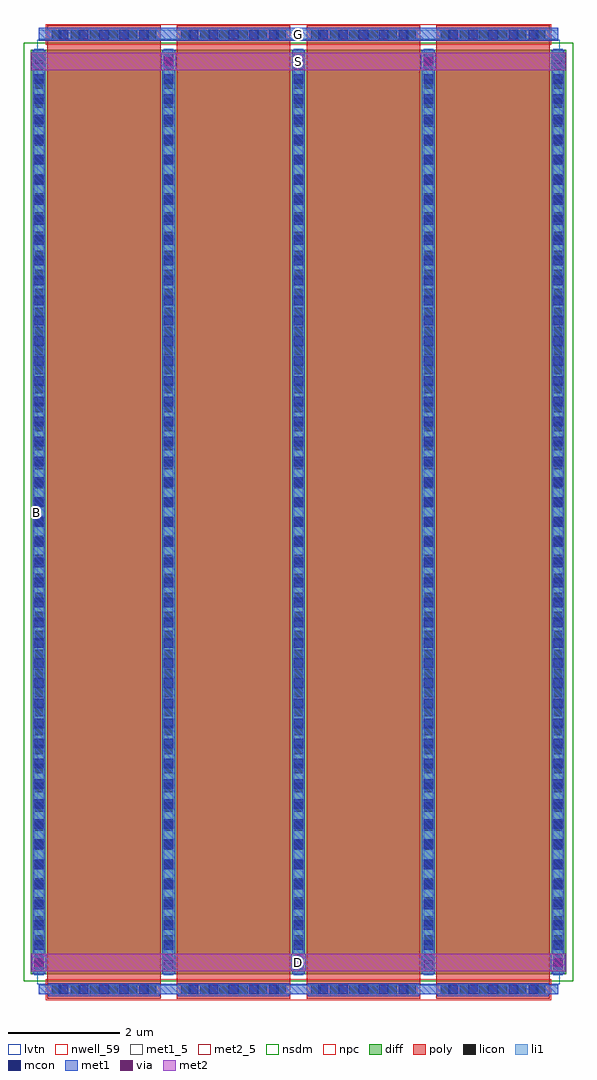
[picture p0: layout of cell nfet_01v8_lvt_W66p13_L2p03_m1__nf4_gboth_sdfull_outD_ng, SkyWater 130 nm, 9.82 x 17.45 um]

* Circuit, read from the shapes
.subckt nfet_01v8_lvt_W66p13_L2p03_m1__nf4_gboth_sdfull_outD_ng B D G S
XM1 S G D B sky130_fd_pr__nfet_01v8_lvt w=16.53 l=2.03 m=4
.ends

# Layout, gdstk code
import gdstk
lib = gdstk.Library(unit=1e-6, precision=1e-09)
def R(c, l, rs):  # rectangles x0, y0, x1, y1
    for r in rs: c.add(gdstk.rectangle(r[:2], r[2:], *l))
def A(c, l, x, y, w, h, nx, ny, dx, dy):  # array of equal rectangles
    R(c, l, [(x+i*dx, y+j*dy, x+i*dx+w, y+j*dy+h) for i in range(nx) for j in range(ny)])
nwell_59 = (64, 59)
diff = (65, 20)
poly = (66, 20)
licon = (66, 44)
li1 = (67, 20)
mcon = (67, 44)
met1_5 = (68, 5)
met1 = (68, 20)
via = (68, 44)
met2_5 = (69, 5)
met2 = (69, 20)
nsdm = (93, 44)
npc = (95, 20)
lvtn = (125, 44)

sky130_fd_pr__nfet_01v8_ = lib.new_cell('sky130_fd_pr__nfet_01v8_lvt_H7STBV')
R(sky130_fd_pr__nfet_01v8_, diff, [(-4.785,-8.265,4.785,8.265)])
A(sky130_fd_pr__nfet_01v8_, poly, -4.495, -8.705, 2.03, 17.41, 4, 1, 2.32, 0)
A(sky130_fd_pr__nfet_01v8_, licon, -4.415, -8.625, 0.17, 0.17, 6, 2, 0.34, 17.08)
A(sky130_fd_pr__nfet_01v8_, licon, -2.095, -8.625, 0.17, 0.17, 6, 2, 0.34, 17.08)
A(sky130_fd_pr__nfet_01v8_, licon, 0.225, -8.625, 0.17, 0.17, 6, 2, 0.34, 17.08)
A(sky130_fd_pr__nfet_01v8_, licon, 2.545, -8.625, 0.17, 0.17, 6, 2, 0.34, 17.08)
A(sky130_fd_pr__nfet_01v8_, licon, -4.725, -8.075, 0.17, 0.17, 5, 48, 2.32, 0.34)
A(sky130_fd_pr__nfet_01v8_, li1, -4.725, -8.285, 0.17, 16.57, 5, 1, 2.32, 0)
R(sky130_fd_pr__nfet_01v8_, li1, [(-4.64,-8.625,4.64,-8.455), (-4.64,8.455,4.64,8.625)])
A(sky130_fd_pr__nfet_01v8_, mcon, -4.285, -8.625, 0.17, 0.17, 5, 2, 0.36, 17.08)
A(sky130_fd_pr__nfet_01v8_, mcon, -1.965, -8.625, 0.17, 0.17, 5, 2, 0.36, 17.08)
A(sky130_fd_pr__nfet_01v8_, mcon, 0.355, -8.625, 0.17, 0.17, 5, 2, 0.36, 17.08)
A(sky130_fd_pr__nfet_01v8_, mcon, 2.675, -8.625, 0.17, 0.17, 5, 2, 0.36, 17.08)
A(sky130_fd_pr__nfet_01v8_, mcon, -4.725, -8.185, 0.17, 0.17, 5, 46, 2.32, 0.36)
A(sky130_fd_pr__nfet_01v8_, met1, -4.475, -8.655, 1.99, 0.03, 4, 2, 2.32, 0.2)
A(sky130_fd_pr__nfet_01v8_, met1, -4.755, -8.265, 0.23, 16.53, 5, 1, 2.32, 0)
A(sky130_fd_pr__nfet_01v8_, met1, -4.475, 8.425, 1.99, 0.03, 4, 2, 2.32, 0.2)
R(sky130_fd_pr__nfet_01v8_, met1, [(-4.64,-8.625,4.64,-8.455), (-4.64,8.455,4.64,8.625)])
R(sky130_fd_pr__nfet_01v8_, nsdm, [(-4.91,-8.39,4.91,8.39)])
R(sky130_fd_pr__nfet_01v8_, npc, [(-4.515,-8.725,4.515,-8.355), (-4.515,8.355,4.515,8.725)])
R(sky130_fd_pr__nfet_01v8_, lvtn, [(-4.675,-8.445,4.675,8.445)])
sky130_fd_pr__nfet_01v8_.add(gdstk.Label('D0', (-4.64,0), layer=67, texttype=5))
sky130_fd_pr__nfet_01v8_.add(gdstk.Label('G', (3.48,8.54), layer=67, texttype=5))
sky130_fd_pr__nfet_01v8_.add(gdstk.Label('G', (1.16,8.54), layer=67, texttype=5))
sky130_fd_pr__nfet_01v8_.add(gdstk.Label('G', (-1.16,8.54), layer=67, texttype=5))
sky130_fd_pr__nfet_01v8_.add(gdstk.Label('G', (-3.48,8.54), layer=67, texttype=5))
sky130_fd_pr__nfet_01v8_.add(gdstk.Label('S1', (-2.32,0), layer=67, texttype=5))
sky130_fd_pr__nfet_01v8_.add(gdstk.Label('D2', (0,0), layer=67, texttype=5))
sky130_fd_pr__nfet_01v8_.add(gdstk.Label('S3', (2.32,0), layer=67, texttype=5))

nfet_01v8_lvt_w66p13_l2p = lib.new_cell('nfet_01v8_lvt_W66p13_L2p03_m1__nf4_gboth_sdfull_outD_ng')
R(nfet_01v8_lvt_w66p13_l2p, nwell_59, [(0.05,8.655,0.15,8.755)])
R(nfet_01v8_lvt_w66p13_l2p, met1_5, [(0.145,17.13,9.425,17.36)])
A(nfet_01v8_lvt_w66p13_l2p, met1, 0.015, 0.49, 0.26, 0.32, 3, 1, 4.64, 0)
R(nfet_01v8_lvt_w66p13_l2p, met1, [(2.335,16.6,2.595,16.92), (6.975,16.6,7.235,16.92), (0.145,17.13,9.425,17.36)])
A(nfet_01v8_lvt_w66p13_l2p, via, 0.07, 0.575, 0.15, 0.15, 3, 1, 4.64, 0)
R(nfet_01v8_lvt_w66p13_l2p, via, [(2.39,16.685,2.54,16.835), (7.03,16.685,7.18,16.835)])
R(nfet_01v8_lvt_w66p13_l2p, met2_5, [(0.01,0.49,9.56,0.81), (0.01,16.6,9.56,16.92)])
R(nfet_01v8_lvt_w66p13_l2p, met2, [(0.01,0.49,9.56,0.81), (0.01,16.6,9.56,16.92)])
nfet_01v8_lvt_w66p13_l2p.add(gdstk.Reference(sky130_fd_pr__nfet_01v8_, (4.785,8.705)))
nfet_01v8_lvt_w66p13_l2p.add(gdstk.Label('S', (4.785,16.76), layer=69, texttype=5))
nfet_01v8_lvt_w66p13_l2p.add(gdstk.Label('D', (4.785,0.65), layer=69, texttype=5))
nfet_01v8_lvt_w66p13_l2p.add(gdstk.Label('G', (4.785,17.245), layer=68, texttype=5))
nfet_01v8_lvt_w66p13_l2p.add(gdstk.Label('B', (0.1,8.705), layer=64, texttype=59))

lib.write_gds('nfet_01v8_lvt_W66p13_L2p03_m1__nf4_gboth_sdfull_outD_ng.gds')
